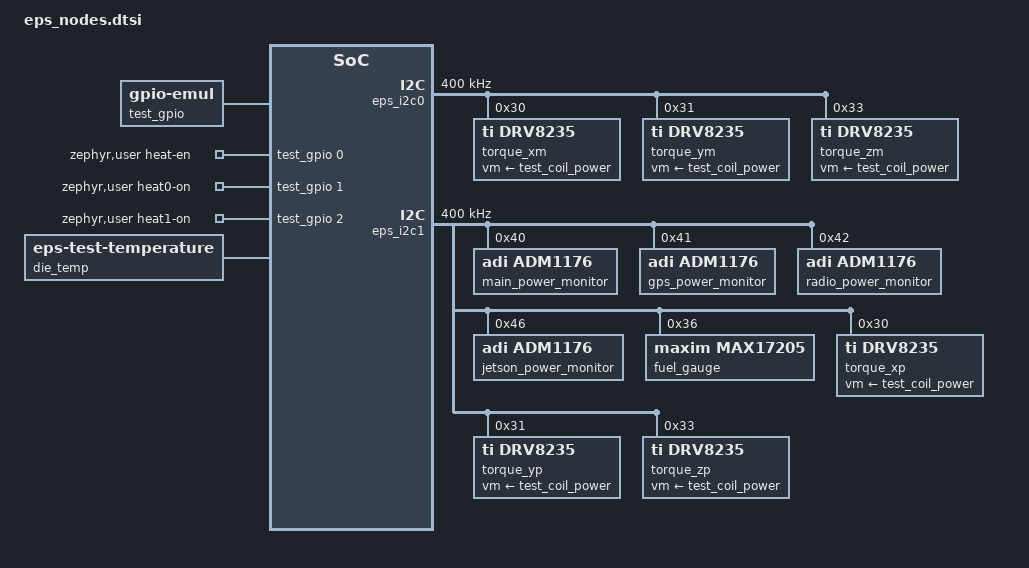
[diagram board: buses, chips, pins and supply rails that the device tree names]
/* SPDX-License-Identifier: Apache-2.0 */
#include <zephyr/dt-bindings/i2c/i2c.h>
#include <zephyr/dt-bindings/gpio/gpio.h>

/ {
	test_gpio: gpio-emulator {
		compatible = "zephyr,gpio-emul";
		gpio-controller;
		#gpio-cells = <2>;
		ngpios = <3>;
	};
	zephyr,user {
		heat-en-gpios = <&test_gpio 0 GPIO_ACTIVE_HIGH>;
		heat0-on-gpios = <&test_gpio 1 GPIO_ACTIVE_HIGH>;
		heat1-on-gpios = <&test_gpio 2 GPIO_ACTIVE_HIGH>;
	};
	die_temp: test-temperature { compatible = "zephyr,eps-test-temperature"; };

	test_regulators {
		compatible = "zephyr,fake-regulator";
		test_coil_power: test-coil-power {
			regulator-name = "test_coil_power";
			regulator-boot-on;
		};
	};

	eps_i2c0: i2c@100 {
		compatible = "zephyr,i2c-emul-controller";
		reg = <0x100 4>;
		clock-frequency = <I2C_BITRATE_FAST>;
		#address-cells = <1>;
		#size-cells = <0>;
		status = "okay";
		torque_xm: torque-xm@30 {
			compatible = "ti,drv8235"; reg = <0x30>;
			max-output-microvolt = <6000000>; coil-resistance-milliohm = <25000>;
			imtr-full-scale-microamp = <3700000>;
			vm-supply = <&test_coil_power>;
		};
		torque_ym: torque-ym@31 {
			compatible = "ti,drv8235"; reg = <0x31>;
			max-output-microvolt = <6000000>; coil-resistance-milliohm = <25000>;
			imtr-full-scale-microamp = <3700000>;
			vm-supply = <&test_coil_power>;
		};
		torque_zm: torque-zm@33 {
			compatible = "ti,drv8235"; reg = <0x33>;
			max-output-microvolt = <6000000>; coil-resistance-milliohm = <25000>;
			imtr-full-scale-microamp = <3700000>;
			vm-supply = <&test_coil_power>;
		};
	};
	eps_i2c1: i2c@200 {
		compatible = "zephyr,i2c-emul-controller";
		reg = <0x200 4>;
		clock-frequency = <I2C_BITRATE_FAST>;
		#address-cells = <1>;
		#size-cells = <0>;
		status = "okay";
		main_power_monitor: adm1176@40 {
			compatible = "adi,adm1176"; reg = <0x40>; rshunt-micro-ohms = <10000>;
		};
		gps_power_monitor: adm1176@41 {
			compatible = "adi,adm1176"; reg = <0x41>; rshunt-micro-ohms = <10000>;
		};
		radio_power_monitor: adm1176@42 {
			compatible = "adi,adm1176"; reg = <0x42>; rshunt-micro-ohms = <10000>;
		};
		jetson_power_monitor: adm1176@46 {
			compatible = "adi,adm1176"; reg = <0x46>; rshunt-micro-ohms = <10000>;
		};
		fuel_gauge: max17205@36 {
			compatible = "maxim,max17205"; reg = <0x36>; rsense-micro-ohms = <10000>;
		};
		torque_xp: torque-xp@30 {
			compatible = "ti,drv8235"; reg = <0x30>;
			max-output-microvolt = <6000000>; coil-resistance-milliohm = <25000>;
			imtr-full-scale-microamp = <3700000>;
			vm-supply = <&test_coil_power>;
		};
		torque_yp: torque-yp@31 {
			compatible = "ti,drv8235"; reg = <0x31>;
			max-output-microvolt = <6000000>; coil-resistance-milliohm = <25000>;
			imtr-full-scale-microamp = <3700000>;
			vm-supply = <&test_coil_power>;
		};
		torque_zp: torque-zp@33 {
			compatible = "ti,drv8235"; reg = <0x33>;
			max-output-microvolt = <6000000>; coil-resistance-milliohm = <25000>;
			imtr-full-scale-microamp = <3700000>;
			vm-supply = <&test_coil_power>;
		};
	};
};
